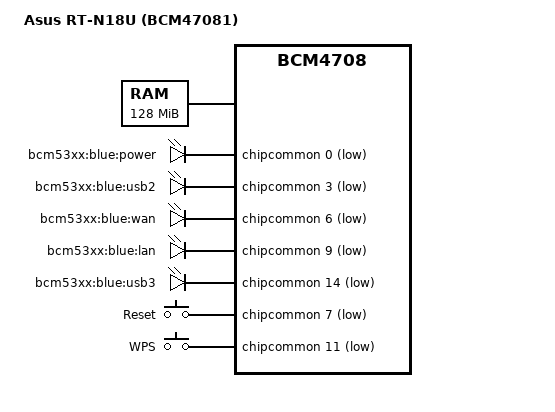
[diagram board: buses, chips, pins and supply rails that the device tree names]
/*
 * Broadcom BCM470X / BCM5301X ARM platform code.
 * DTS for Asus RT-N18U
 *
 * Copyright (C) 2014 Rafał Miłecki <zajec5@gmail.com>
 *
 * Licensed under the GNU/GPL. See COPYING for details.
 */

/dts-v1/;

#include "bcm47081.dtsi"

/ {
	compatible = "asus,rt-n18u", "brcm,bcm47081", "brcm,bcm4708";
	model = "Asus RT-N18U (BCM47081)";

	chosen {
		bootargs = "console=ttyS0,115200";
	};

	memory {
		reg = <0x00000000 0x08000000>;
	};

	leds {
		compatible = "gpio-leds";

		power {
			label = "bcm53xx:blue:power";
			gpios = <&chipcommon 0 GPIO_ACTIVE_LOW>;
			linux,default-trigger = "default-on";
		};

		usb2 {
			label = "bcm53xx:blue:usb2";
			gpios = <&chipcommon 3 GPIO_ACTIVE_LOW>;
			linux,default-trigger = "default-off";
		};

		wan {
			label = "bcm53xx:blue:wan";
			gpios = <&chipcommon 6 GPIO_ACTIVE_LOW>;
			linux,default-trigger = "default-on";
		};

		lan {
			label = "bcm53xx:blue:lan";
			gpios = <&chipcommon 9 GPIO_ACTIVE_LOW>;
			linux,default-trigger = "default-on";
		};

		usb3 {
			label = "bcm53xx:blue:usb3";
			gpios = <&chipcommon 14 GPIO_ACTIVE_LOW>;
			linux,default-trigger = "default-off";
		};
	};

	gpio-keys {
		compatible = "gpio-keys";
		#address-cells = <1>;
		#size-cells = <0>;
		poll-interval = <200>;

		restart {
			label = "Reset";
			linux,code = <KEY_RESTART>;
			gpios = <&chipcommon 7 GPIO_ACTIVE_LOW>;
		};

		wps {
			label = "WPS";
			linux,code = <KEY_WPS_BUTTON>;
			gpios = <&chipcommon 11 GPIO_ACTIVE_LOW>;
		};
	};
};
